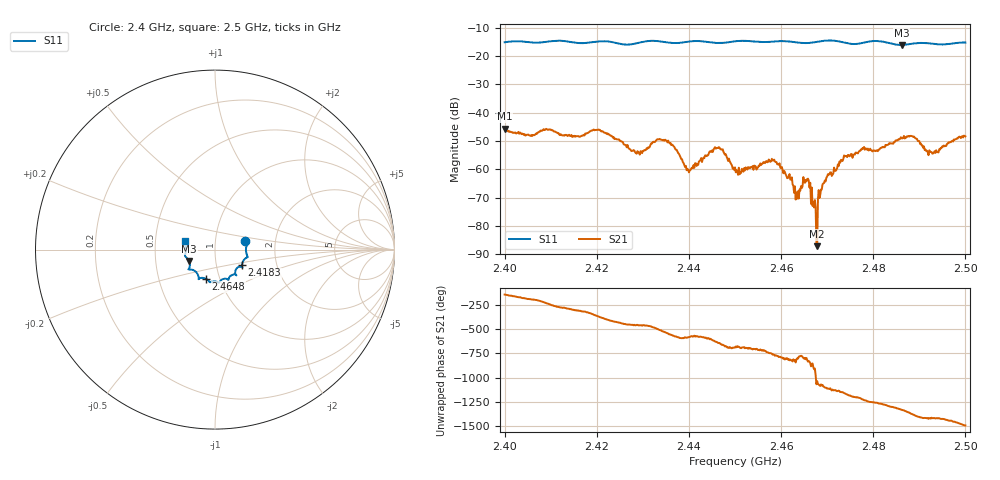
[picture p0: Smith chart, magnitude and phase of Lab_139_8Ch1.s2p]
# Hz S RI R
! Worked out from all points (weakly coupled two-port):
!   601 points, 2.4 GHz to 2.5 GHz, reference 50 ohm
!   highest |S21| = -45.69 dB at 2.4 GHz (marker M1); lowest = -87.1 dB at 2.4678 GHz (marker M2)
!   lowest |S11| = -16.1 dB at 2.4862 GHz (marker M3), VSWR 1.37, Z = 37.1 - j4.82 ohm
!   |S11| at or under -10 dB: start of sweep to end of sweep
!   S12 and S22 are empty: the file has one direction only
!   S11 on the Smith chart (normalised r, x): 2.4 GHz: 1.40, +0.13; 2.4183 GHz: 1.33, -0.24; 2.4648 GHz: 0.86, -0.29; 2.5 GHz: 0.71, +0.07
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2.4e9  0.1694 0.046  -0.00419 -0.00307  0 0  0 0
2.416667e9  0.1549 -0.0683  0.00281 0.00266  0 0  0 0
2.418333e9  0.1498 -0.0872  0.00406 0.00205  0 0  0 0
2.428833e9  0.1123 -0.1274  -0.000217 -0.00208  0 0  0 0
2.433333e9  0.1175 -0.141  -0.00266 -0.0021  0 0  0 0
2.4365e9  0.095 -0.1416  -0.00239 0.0012  0 0  0 0
2.44e9  0.0758 -0.1637  -0.00066 0.000589  0 0  0 0
2.446167e9  0.0516 -0.1626  0.00025 0.00239  0 0  0 0
2.45e9  0.0254 -0.1808  0.000937 0.000542  0 0  0 0
2.4585e9  -0.0211 -0.1799  0.00106 -0.00104  0 0  0 0
2.463333e9  -0.0376 -0.1709  -6.34e-06 -0.000392  0 0  0 0
2.464833e9  -0.0507 -0.1626  0.000159 -0.000713  0 0  0 0
2.465833e9  -0.062 -0.1585  -0.000281 -0.000623  0 0  0 0
2.466667e9  -0.0713 -0.1573  -0.000348 -0.000325  0 0  0 0
2.467333e9  -0.0784 -0.1578  -0.000285 2.79e-05  0 0  0 0
2.467833e9  -0.0826 -0.1589  3.13e-05 3.09e-05  0 0  0 0
2.469667e9  -0.0914 -0.1639  0.000562 -0.000241  0 0  0 0
2.4735e9  -0.0927 -0.1479  0.000428 -0.00146  0 0  0 0
2.483333e9  -0.1414 -0.0965  -0.00233 0.00148  0 0  0 0
2.486167e9  -0.144 -0.0632  -0.00115 0.00334  0 0  0 0
2.493e9  -0.164 -0.02  0.00177 0.000738  0 0  0 0
2.5e9  -0.167 0.0469  0.00237 -0.00299  0 0  0 0
